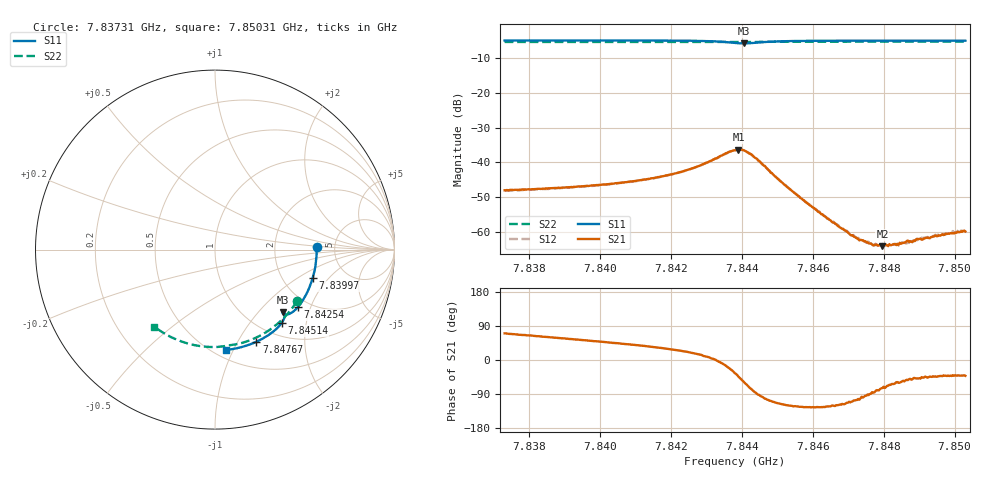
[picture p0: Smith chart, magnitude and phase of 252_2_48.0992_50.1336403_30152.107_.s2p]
#  HZ  S  RI  R  50.00
! Rohde & Schwarz Vector Network Analyzer
! Rohde-Schwarz,ZNB20-2Port,1311601062101988,3.16
! Created: UTC 12/23/2023, 3:59:51 AM
! freq[Hz]  re:S11  im:S11  re:S21  im:S21  re:S12  im:S12  re:S22  im:S22
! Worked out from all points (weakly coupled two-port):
!   401 points, 7.83731 GHz to 7.85031 GHz, reference 50 ohm
!   highest |S21| = -36.29 dB at 7.8439 GHz (marker M1); lowest = -64.1 dB at 7.84797 GHz (marker M2)
!   lowest |S11| = -5.8 dB at 7.84407 GHz (marker M3), VSWR 3.12, Z = 72 - j68.5 ohm
!   |S11| at or under -10 dB: nowhere
!   |S22| runs from -5.4 to -5.3 dB; largest |S21 - S12| = 0.00036
!   S11 on the Smith chart (normalised r, x): 7.83731 GHz: 3.60, +0.17; 7.83997 GHz: 2.90, -1.37; 7.84254 GHz: 1.75, -1.63; 7.84514 GHz: 1.24, -1.45; 7.84767 GHz: 0.80, -1.20; 7.85031 GHz: 0.57, -0.94
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7.837308e9  0.5661 0.0157  0.00135 0.00374  0.00142 0.00365  0.4562 -0.2884
7.839485e9  0.5522 -0.1284  0.00276 0.00361  0.00273 0.00358  0.3583 -0.4046
7.839972e9  0.5439 -0.1603  0.00314 0.00357  0.00307 0.00355  0.3321 -0.4266
7.841662e9  0.4987 -0.2667  0.0052 0.00331  0.00516 0.00331  0.2315 -0.4892
7.842539e9  0.4626 -0.3191  0.00755 0.00273  0.00748 0.00274  0.1744 -0.5124
7.843319e9  0.4149 -0.3578  0.0117 -0.000519  0.0117 -0.000429  0.1212 -0.5268
7.843807e9  0.3797 -0.3584  0.0122 -0.00856  0.0124 -0.00841  0.0887 -0.5318
7.843904e9  0.3765 -0.3548  0.011 -0.0106  0.011 -0.0103  0.0825 -0.5325
7.844067e9  0.3769 -0.35  0.00763 -0.0128  0.00752 -0.0125  0.0722 -0.5342
7.844359e9  0.3855 -0.3559  0.00111 -0.0117  0.00117 -0.0119  0.0534 -0.5376
7.845139e9  0.3716 -0.4086  -0.00232 -0.00457  -0.00232 -0.00455  -0.00111 -0.5428
7.845984e9  0.3294 -0.4527  -0.00129 -0.00189  -0.00133 -0.0019  -0.0606 -0.5404
7.847089e9  0.2661 -0.4955  -0.000307 -0.000837  -0.000293 -0.000886  -0.137 -0.5268
7.847284e9  0.2544 -0.5017  -0.000174 -0.000767  -0.000161 -0.000807  -0.1504 -0.5233
7.847674e9  0.2308 -0.5134  5.83e-05 -0.000658  3.15e-05 -0.000664  -0.1765 -0.5154
7.847966e9  0.2125 -0.5212  0.000173 -0.000601  0.000186 -0.000649  -0.1958 -0.5085
7.848161e9  0.2004 -0.526  0.000279 -0.000608  0.000237 -0.000587  -0.2086 -0.5036
7.848518e9  0.1779 -0.5342  0.000381 -0.000573  0.000396 -0.000593  -0.2317 -0.4936
7.848648e9  0.1696 -0.5367  0.000452 -0.000584  0.000401 -0.000557  -0.24 -0.4898
7.849071e9  0.1425 -0.5447  0.000546 -0.000548  0.000586 -0.000583  -0.2663 -0.4763
7.849493e9  0.115 -0.5508  0.000624 -0.000608  0.000641 -0.000592  -0.2919 -0.4612
7.850306e9  0.0617 -0.5591  0.000759 -0.000678  0.000797 -0.000693  -0.3385 -0.4286
